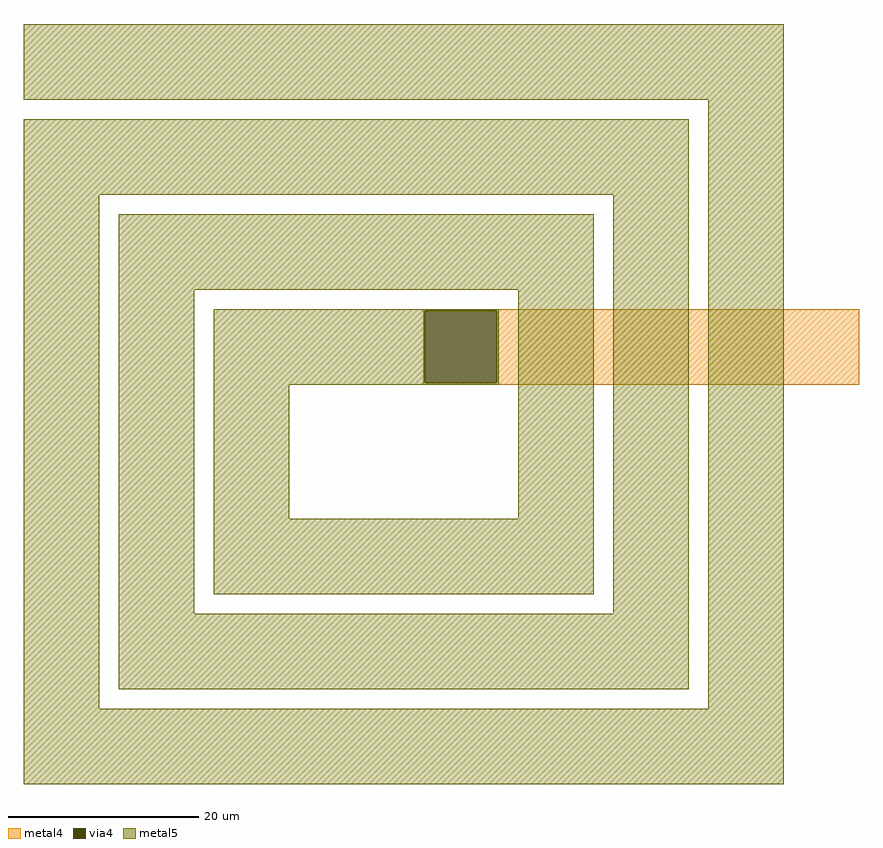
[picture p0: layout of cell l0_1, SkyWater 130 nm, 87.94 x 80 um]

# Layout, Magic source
magic
tech sky130A
<< metal4 >>
rect 25805 26581 30394 26600
rect 25805 25823 25823 26581
rect 26581 25823 30394 26581
rect 25805 25805 30394 25823
<< via4 >>
rect 25823 25823 26581 26581
<< metal5 >>
rect 21600 28805 29600 29600
rect 21600 27805 28600 28600
rect 21600 22394 22394 27805
rect 22599 26805 27600 27600
rect 22599 23394 23394 26805
rect 23599 26581 26600 26600
rect 23599 25823 25823 26581
rect 26581 25823 26600 26581
rect 23599 25805 26600 25823
rect 23599 24394 24394 25805
rect 26805 24394 27600 26805
rect 23599 23599 27600 24394
rect 27805 23394 28600 27805
rect 22599 22599 28600 23394
rect 28805 22394 29600 28805
rect 21600 21600 29600 22394
<< end >>
